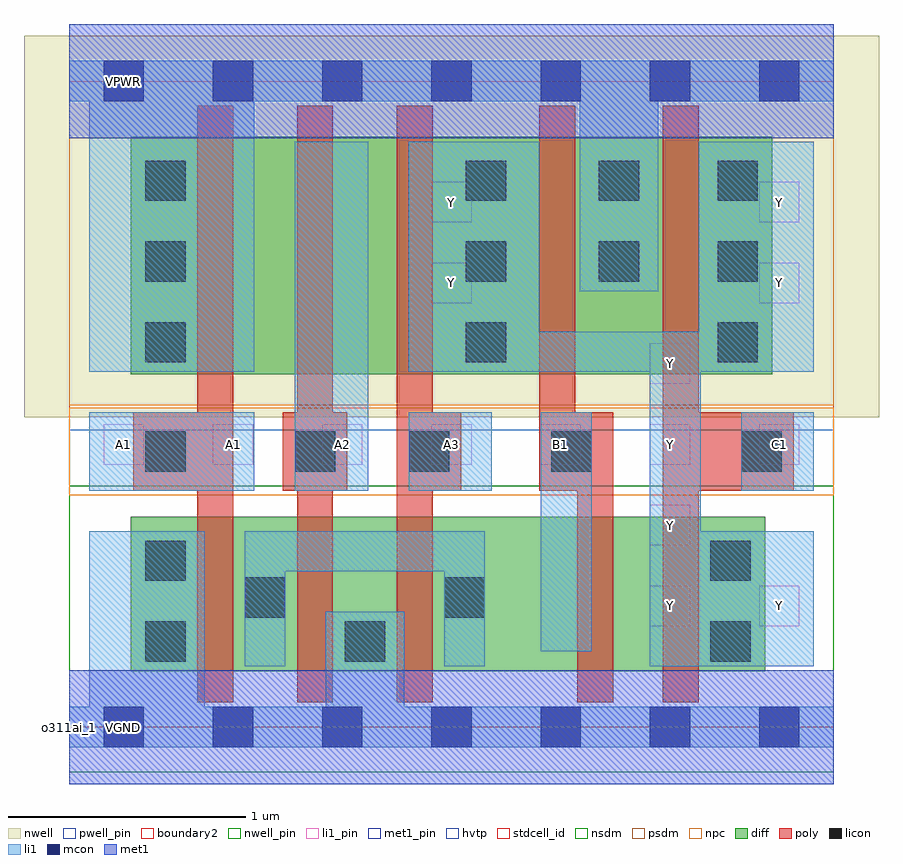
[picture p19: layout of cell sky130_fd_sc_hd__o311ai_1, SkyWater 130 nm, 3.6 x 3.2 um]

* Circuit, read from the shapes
.subckt sky130_fd_sc_hd__o311ai_1 A1 A2 A3 B1 C1 VGND VNB VPB VPWR Y
XM1 n1 A1 VGND VNB sky130_fd_pr__nfet_01v8 w=0.65 l=0.15
XM2 VGND A2 n1 VNB sky130_fd_pr__nfet_01v8 w=0.65 l=0.15
XM3 n1 A3 VGND VNB sky130_fd_pr__nfet_01v8 w=0.65 l=0.15
XM4 n2 B1 n1 VNB sky130_fd_pr__nfet_01v8 w=0.65 l=0.15
XM5 Y C1 n2 VNB sky130_fd_pr__nfet_01v8 w=0.65 l=0.15
XM6 n3 A1 VPWR VPB sky130_fd_pr__pfet_01v8_hvt w=1 l=0.15
XM7 n4 A2 n3 VPB sky130_fd_pr__pfet_01v8_hvt w=1 l=0.15
XM8 Y A3 n4 VPB sky130_fd_pr__pfet_01v8_hvt w=1 l=0.15
XM9 VPWR B1 Y VPB sky130_fd_pr__pfet_01v8_hvt w=1 l=0.15
XM10 Y C1 VPWR VPB sky130_fd_pr__pfet_01v8_hvt w=1 l=0.15
.ends

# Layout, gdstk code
import gdstk
lib = gdstk.Library(unit=1e-6, precision=1e-09)
def R(c, l, rs):  # rectangles x0, y0, x1, y1
    for r in rs: c.add(gdstk.rectangle(r[:2], r[2:], *l))
def A(c, l, x, y, w, h, nx, ny, dx, dy):  # array of equal rectangles
    R(c, l, [(x+i*dx, y+j*dy, x+i*dx+w, y+j*dy+h) for i in range(nx) for j in range(ny)])
def P(c, l, *ps):  # polygons
    for p in ps: c.add(gdstk.Polygon(p, *l))
nwell_pin = (64, 16)
nwell = (64, 20)
diff = (65, 20)
poly = (66, 20)
licon = (66, 44)
li1_pin = (67, 16)
li1 = (67, 20)
mcon = (67, 44)
met1_pin = (68, 16)
met1 = (68, 20)
hvtp = (78, 44)
stdcell_id = (81, 4)
nsdm = (93, 44)
psdm = (94, 20)
npc = (95, 20)
pwell_pin = (122, 16)
boundary2 = (236, 0)

sky130_fd_sc_hd__o311ai_ = lib.new_cell('sky130_fd_sc_hd__o311ai_1')
R(sky130_fd_sc_hd__o311ai_, nwell_pin, [(0.145,2.635,0.315,2.805)])
R(sky130_fd_sc_hd__o311ai_, nwell, [(-0.19,1.305,3.41,2.91)])
R(sky130_fd_sc_hd__o311ai_, diff, [(0.26,0.235,2.93,0.885), (0.26,1.485,2.96,2.485)])
P(sky130_fd_sc_hd__o311ai_, poly, [(0.54,0.105),(0.54,0.995),(0.27,0.995),(0.27,1.325),(0.54,1.325),(0.54,2.615),(0.69,2.615),(0.69,0.105)],
  [(0.96,0.105),(0.96,0.995),(0.9,0.995),(0.9,1.325),(0.96,1.325),(0.96,2.615),(1.11,2.615),(1.11,1.325),(1.17,1.325),(1.17,0.995),(1.11,0.995),(1.11,0.105)],
  [(1.38,0.105),(1.38,2.615),(1.53,2.615),(1.53,1.325),(1.65,1.325),(1.65,0.995),(1.53,0.995),(1.53,0.105)],
  [(2.14,0.105),(2.14,0.995),(1.98,0.995),(1.98,2.615),(2.13,2.615),(2.13,1.325),(2.29,1.325),(2.29,0.105)],
  [(2.5,0.105),(2.5,2.615),(2.65,2.615),(2.65,1.325),(3.05,1.325),(3.05,0.995),(2.65,0.995),(2.65,0.105)])
A(sky130_fd_sc_hd__o311ai_, licon, 0.32, 0.615, 0.17, 0.17, 1, 3, 0, 0.46)
A(sky130_fd_sc_hd__o311ai_, licon, 1.67, 1.535, 0.17, 0.17, 1, 3, 0, 0.34)
A(sky130_fd_sc_hd__o311ai_, licon, 2.73, 1.535, 0.17, 0.17, 1, 3, 0, 0.34)
R(sky130_fd_sc_hd__o311ai_, licon, [(0.32,0.275,0.49,0.445), (1.16,0.275,1.33,0.445), (2.7,0.275,2.87,0.445), (0.74,0.46,0.91,0.63), (1.58,0.46,1.75,0.63), (2.7,0.615,2.87,0.785), (0.95,1.075,1.12,1.245), (1.43,1.075,1.6,1.245), (2.03,1.075,2.2,1.245), (2.83,1.075,3,1.245), (0.32,1.875,0.49,2.045), (2.23,1.875,2.4,2.045), (0.32,2.215,0.49,2.385), (2.23,2.215,2.4,2.385)])
A(sky130_fd_sc_hd__o311ai_, li1_pin, 0.145, 1.105, 0.17, 0.17, 7, 1, 0.46, 0)
R(sky130_fd_sc_hd__o311ai_, li1_pin, [(2.445,0.425,2.615,0.595), (2.905,0.425,3.075,0.595), (2.445,0.765,2.615,0.935), (2.445,1.445,2.615,1.615), (1.525,1.785,1.695,1.955), (2.905,1.785,3.075,1.955), (1.525,2.125,1.695,2.295), (2.905,2.125,3.075,2.295)])
R(sky130_fd_sc_hd__o311ai_, li1, [(1.985,0.32,2.2,1.325), (0.085,0.995,0.78,1.325), (0.95,0.995,1.26,2.465), (1.43,0.995,1.78,1.325), (2.83,0.995,3.135,1.325)])
P(sky130_fd_sc_hd__o311ai_, li1, [(0.74,0.255),(0.74,0.825),(1.75,0.825),(1.75,0.255),(1.58,0.255),(1.58,0.655),(0.91,0.655),(0.91,0.255)],
  [(0.085,1.495),(0.085,2.635),(0,2.635),(0,2.805),(3.22,2.805),(3.22,2.635),(2.48,2.635),(2.48,1.835),(2.15,1.835),(2.15,2.635),(0.78,2.635),(0.78,1.495)],
  [(0,-0.085),(0,0.085),(0.085,0.085),(0.085,0.825),(0.57,0.825),(0.57,0.085),(1.08,0.085),(1.08,0.485),(1.41,0.485),(1.41,0.085),(3.22,0.085),(3.22,-0.085)],
  [(2.445,0.255),(2.445,1.495),(1.43,1.495),(1.43,2.465),(1.98,2.465),(1.98,1.665),(2.65,1.665),(2.65,2.465),(3.135,2.465),(3.135,1.495),(2.66,1.495),(2.66,0.825),(3.135,0.825),(3.135,0.255)])
A(sky130_fd_sc_hd__o311ai_, mcon, 0.145, -0.085, 0.17, 0.17, 7, 2, 0.46, 2.72)
R(sky130_fd_sc_hd__o311ai_, met1_pin, [(0.145,-0.085,0.315,0.085), (0.145,2.635,0.315,2.805)])
R(sky130_fd_sc_hd__o311ai_, hvtp, [(0,1.25,3.22,2.72)])
R(sky130_fd_sc_hd__o311ai_, stdcell_id, [(0,0,3.22,2.72)])
R(sky130_fd_sc_hd__o311ai_, nsdm, [(0,-0.19,3.22,1.015)])
R(sky130_fd_sc_hd__o311ai_, psdm, [(0,1.355,3.22,2.91)])
R(sky130_fd_sc_hd__o311ai_, npc, [(0,0.975,3.22,1.345)])
R(sky130_fd_sc_hd__o311ai_, pwell_pin, [(0.145,-0.085,0.315,0.085)])
R(sky130_fd_sc_hd__o311ai_, boundary2, [(0,0,3.22,2.72)])
sky130_fd_sc_hd__o311ai_.add(gdstk.FlexPath([(0,0),(3.22,0)], 0.48, ends="flush", simple_path=True, layer=68, datatype=20))  # met1
sky130_fd_sc_hd__o311ai_.add(gdstk.FlexPath([(0,2.72),(3.22,2.72)], 0.48, ends="flush", simple_path=True, layer=68, datatype=20))  # met1
sky130_fd_sc_hd__o311ai_.add(gdstk.Label('VPWR', (0.23,2.72), layer=68, texttype=5))
sky130_fd_sc_hd__o311ai_.add(gdstk.Label('VGND', (0.23,0), layer=68, texttype=5))
sky130_fd_sc_hd__o311ai_.add(gdstk.Label('VPB', (0.23,2.72), layer=64, texttype=5))
sky130_fd_sc_hd__o311ai_.add(gdstk.Label('VNB', (0.23,0), layer=64, texttype=59))
sky130_fd_sc_hd__o311ai_.add(gdstk.Label('o311ai_1', (0,0), layer=83, texttype=44))
sky130_fd_sc_hd__o311ai_.add(gdstk.Label('A3', (1.61,1.19), layer=67, texttype=5))
sky130_fd_sc_hd__o311ai_.add(gdstk.Label('A2', (1.15,1.19), layer=67, texttype=5))
sky130_fd_sc_hd__o311ai_.add(gdstk.Label('C1', (2.99,1.19), layer=67, texttype=5))
sky130_fd_sc_hd__o311ai_.add(gdstk.Label('A1', (0.23,1.19), layer=67, texttype=5))
sky130_fd_sc_hd__o311ai_.add(gdstk.Label('A1', (0.69,1.19), layer=67, texttype=5))
sky130_fd_sc_hd__o311ai_.add(gdstk.Label('B1', (2.07,1.19), layer=67, texttype=5))
sky130_fd_sc_hd__o311ai_.add(gdstk.Label('Y', (2.53,0.51), layer=67, texttype=5))
sky130_fd_sc_hd__o311ai_.add(gdstk.Label('Y', (2.99,0.51), layer=67, texttype=5))
sky130_fd_sc_hd__o311ai_.add(gdstk.Label('Y', (2.53,0.85), layer=67, texttype=5))
sky130_fd_sc_hd__o311ai_.add(gdstk.Label('Y', (2.53,1.19), layer=67, texttype=5))
sky130_fd_sc_hd__o311ai_.add(gdstk.Label('Y', (2.53,1.53), layer=67, texttype=5))
sky130_fd_sc_hd__o311ai_.add(gdstk.Label('Y', (1.61,1.87), layer=67, texttype=5))
sky130_fd_sc_hd__o311ai_.add(gdstk.Label('Y', (2.99,1.87), layer=67, texttype=5))
sky130_fd_sc_hd__o311ai_.add(gdstk.Label('Y', (1.61,2.21), layer=67, texttype=5))
sky130_fd_sc_hd__o311ai_.add(gdstk.Label('Y', (2.99,2.21), layer=67, texttype=5))

lib.write_gds('sky130_fd_sc_hd__o311ai_1.gds')
